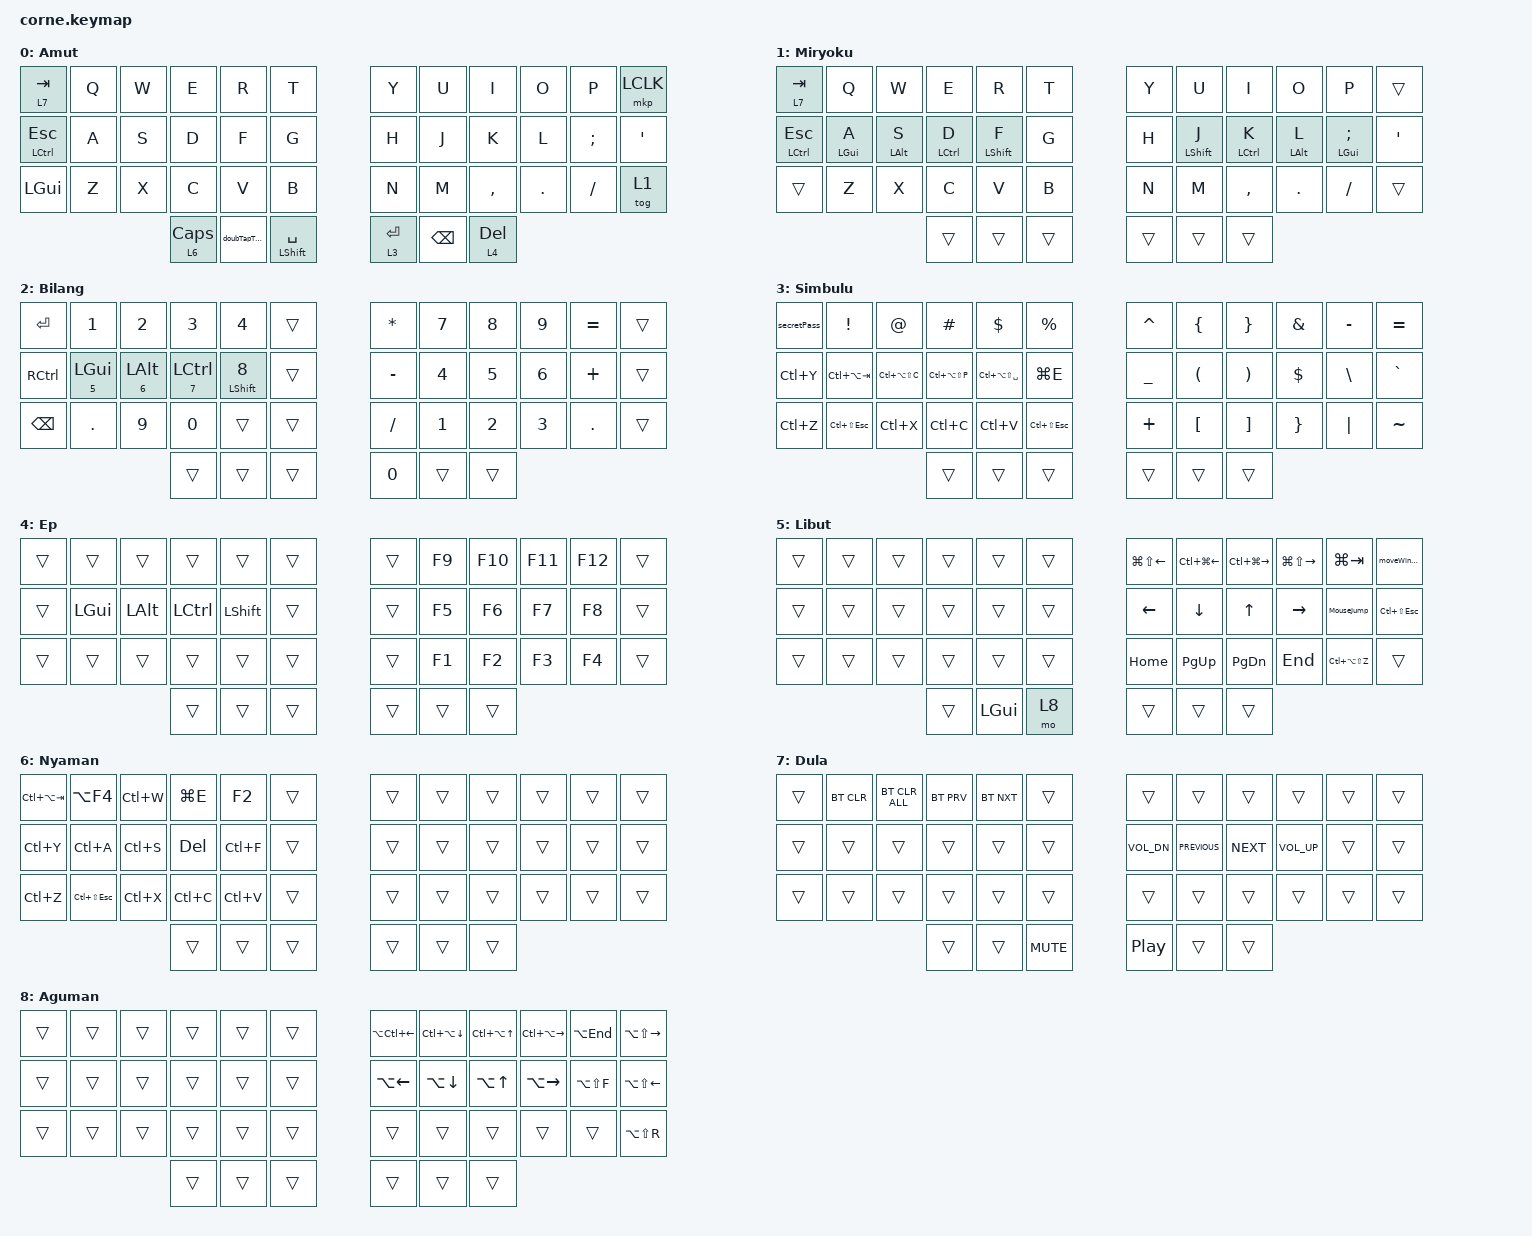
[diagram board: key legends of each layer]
/*
 * Copyright (c) 2020 The ZMK Contributors
 *
 * SPDX-License-Identifier: MIT
 */

#include <behaviors.dtsi>
#include <dt-bindings/zmk/bt.h>
#include <dt-bindings/zmk/keys.h>
#include <dt-bindings/zmk/mouse.h>

/ {
    combos {
        compatible = "zmk,combos";

        tab_forward {
            bindings = <&kp LC(TAB)>;
            key-positions = <20 21>;
            layers = <5>;
        };

        tab_backward {
            bindings = <&kp LC(LS(TAB))>;
            key-positions = <19 20>;
            layers = <5>;
        };

        LeftParenthesis {
            bindings = <&kp LEFT_PARENTHESIS>;
            key-positions = <39 19>;
            layers = <0 1>;
        };

        RightParenthesis {
            bindings = <&kp RIGHT_PARENTHESIS>;
            key-positions = <39 20>;
            layers = <0 1>;
        };

        komoRight {
            bindings = <&kp LC(LA(RIGHT))>;
            key-positions = <20 21>;
            layers = <8>;
        };

        komoMoveLeft {
            bindings = <&kp LC(LA(LEFT))>;
            key-positions = <19 20>;
            layers = <8>;
        };

        accentspace {
            bindings = <&kp SPACE>;
            key-positions = <39 22>;
            layers = <0>;
        };

        navigation {
            bindings = <&mo 5>;
            key-positions = <15 16>;
            layers = <0>;
        };
    };

    macros {
        MouseJump: MouseJump {
            compatible = "zmk,behavior-macro";
            #binding-cells = <0>;
            bindings =
                <&macro_press>,
                <&kp LG(LC(LA(LS(J))))>,
                <&macro_press>,
                <&kp RIGHT>;

            label = "MOUSEJUMP";
        };

        moveWinToVirD: moveWinToVirD {
            compatible = "zmk,behavior-macro";
            #binding-cells = <0>;
            bindings =
                <&macro_press>,
                <&kp LS(F10)>,
                <&macro_press>,
                <&kp DOWN>,
                <&macro_press>,
                <&kp DOWN>,
                <&macro_press>,
                <&kp RIGHT>;

            label = "MOVEWINTOVIRD";
            wait-ms = <150>;
        };

        secretPass: secretPass {
            compatible = "zmk,behavior-macro";
            #binding-cells = <0>;
            bindings = <&kp N1 &kp Y &kp G &kp LS(L) &kp E &kp E &kp P &kp AT &kp EXCL &kp EXCL>;
            label = "SECRETPASS";
        };
    };

    behaviors {
        doubTapToAlt: doubTapToAlt {
            compatible = "zmk,behavior-tap-dance";
            label = "DOUBTAPTOALT";
            #binding-cells = <0>;
            bindings = <&mo 2>, <&kp LEFT_ALT>;

            tapping-term-ms = <200>;
        };
    };

    keymap {
        compatible = "zmk,keymap";

        base {
            // -----------------------------------------------------------------------------------------
            // |  TAB |  Q  |  W  |  E  |  R  |  T  |   |  Y  |  U   |  I  |  O  |  P  | BKSP |
            // | CTRL |  A  |  S  |  D  |  F  |  G  |   |  H  |  J   |  K  |  L  |  ;  |  '   |
            // | SHFT |  Z  |  X  |  C  |  V  |  B  |   |  N  |  M   |  ,  |  .  |  /  | ESC  |
            //                    | GUI | LWR | SPC |   | ENT | RSE  | ALT |

            display-name = "Amut";
            bindings = <
&lt 7 TAB         &kp Q  &kp W  &kp E           &kp R          &kp T                   &kp Y         &kp U          &kp I      &kp O    &kp P     &mkp LCLK
&mt LCTRL ESCAPE  &kp A  &kp S  &kp D           &kp F          &kp G                   &kp H         &kp J          &kp K      &kp L    &kp SEMI  &kp SQT
&kp LEFT_GUI      &kp Z  &kp X  &kp C           &kp V          &kp B                   &kp N         &kp M          &kp COMMA  &kp DOT  &kp FSLH  &tog 1
                                &lt 6 CAPSLOCK  &doubTapToAlt  &mt LEFT_SHIFT SPACE    &lt 3 RETURN  &kp BACKSPACE  &lt 4 DEL
            >;
        };

        miryoku {
            display-name = "Miryoku";
            bindings = <
&lt 7 TAB         &kp Q           &kp W           &kp E        &kp R             &kp T     &kp Y   &kp U             &kp I        &kp O           &kp P                   &trans
&mt LCTRL ESCAPE  &mt LEFT_GUI A  &mt LEFT_ALT S  &mt LCTRL D  &mt LEFT_SHIFT F  &kp G     &kp H   &mt LEFT_SHIFT J  &mt LCTRL K  &mt LEFT_ALT L  &mt LEFT_GUI SEMICOLON  &kp SQT
&trans            &kp Z           &kp X           &kp C        &kp V             &kp B     &kp N   &kp M             &kp COMMA    &kp DOT         &kp FSLH                &trans
                                                  &trans       &trans            &trans    &trans  &trans            &trans
            >;
        };

        numbers {
            // -----------------------------------------------------------------------------------------
            // |  TAB |  1  |  2  |  3  |  4  |  5  |   |  6  |  7  |  8  |  9  |  0  | BKSP |
            // | BTCLR| BT1 | BT2 | BT3 | BT4 | BT5 |   | LFT | DWN |  UP | RGT |     |      |
            // | SHFT |     |     |     |     |     |   |     |     |     |     |     |      |
            //                    | GUI |     | SPC |   | ENT |     | ALT |

            display-name = "Bilang";
            bindings = <
&kp RET        &kp N1           &kp N2                 &kp N3        &kp N4             &trans    &kp ASTERISK  &kp N7        &kp N8        &kp N9        &kp EQUAL   &trans
&kp RCTRL      &mt N5 LEFT_GUI  &mt NUMBER_6 LEFT_ALT  &mt N7 LCTRL  &mt LEFT_SHIFT N8  &trans    &kp MINUS     &kp NUMBER_4  &kp N5        &kp NUMBER_6  &kp PLUS    &trans
&kp BACKSPACE  &kp DOT          &kp N9                 &kp N0        &trans             &trans    &kp SLASH     &kp NUMBER_1  &kp NUMBER_2  &kp NUMBER_3  &kp PERIOD  &trans
                                                       &trans        &trans             &trans    &kp NUMBER_0  &trans        &trans
            >;
        };

        symbols {
            // -----------------------------------------------------------------------------------------
            // |  TAB |  !  |  @  |  #  |  $  |  %  |   |  ^  |  &  |  *  |  (  |  )  | BKSP |
            // | CTRL |     |     |     |     |     |   |  -  |  =  |  [  |  ]  |  \  |  `   |
            // | SHFT |     |     |     |     |     |   |  _  |  +  |  {  |  }  | "|" |  ~   |
            //                    | GUI |     | SPC |   | ENT |     | ALT |

            display-name = "Simbulu";
            bindings = <
&secretPass  &kp EXCL            &kp AT             &kp HASH           &kp DLLR               &kp PRCNT             &kp CARET       &kp LEFT_BRACE        &kp RIGHT_BRACE        &kp AMPERSAND  &kp MINUS  &kp EQUAL
&kp LC(Y)    &kp LC(LA(TAB))     &kp LC(LA(LS(C)))  &kp LC(LA(LS(P)))  &kp LC(LA(LS(SPACE)))  &kp LG(E)             &kp UNDERSCORE  &kp LEFT_PARENTHESIS  &kp RIGHT_PARENTHESIS  &kp DOLLAR     &kp BSLH   &kp GRAVE
&kp LC(Z)    &kp LC(LS(ESCAPE))  &kp LC(X)          &kp LC(C)          &kp LC(V)              &kp LC(LS(ESCAPE))    &kp PLUS        &kp LEFT_BRACKET      &kp RIGHT_BRACKET      &kp RBRC       &kp PIPE   &kp TILDE
                                                    &trans             &trans                 &trans                &trans          &trans                &trans
            >;
        };

        fkeys {
            display-name = "Ep";
            bindings = <
&trans  &trans        &trans        &trans     &trans     &trans    &trans  &kp F9  &kp F10  &kp F11  &kp F12  &trans
&trans  &kp LEFT_GUI  &kp LEFT_ALT  &kp LCTRL  &kp LSHFT  &trans    &trans  &kp F5  &kp F6   &kp F7   &kp F8   &trans
&trans  &trans        &trans        &trans     &trans     &trans    &trans  &kp F1  &kp F2   &kp F3   &kp F4   &trans
                                    &trans     &trans     &trans    &trans  &trans  &trans
            >;
        };

        navigation {
            bindings = <
&trans  &trans  &trans  &trans  &trans        &trans    &kp LG(LS(LEFT))  &kp LC(LG(LEFT_ARROW))  &kp LC(LG(RIGHT_ARROW))  &kp LG(LS(RIGHT))  &kp LG(TAB)        &moveWinToVirD
&trans  &trans  &trans  &trans  &trans        &trans    &kp LEFT          &kp DOWN                &kp UP                   &kp RIGHT          &MouseJump         &kp LC(LS(ESCAPE))
&trans  &trans  &trans  &trans  &trans        &trans    &kp HOME          &kp PAGE_UP             &kp PAGE_DOWN            &kp END            &kp LC(LA(LS(Z)))  &trans
                        &trans  &kp LEFT_GUI  &mo 8     &trans            &trans                  &trans
            >;

            label = "Libut";
        };

        shortcuts {
            bindings = <
&kp LC(LA(TAB))  &kp LA(F4)          &kp LC(W)  &kp LG(E)   &kp F2     &trans    &trans  &trans  &trans  &trans  &trans  &trans
&kp LC(Y)        &kp LC(A)           &kp LC(S)  &kp DELETE  &kp LC(F)  &trans    &trans  &trans  &trans  &trans  &trans  &trans
&kp LC(Z)        &kp LC(LS(ESCAPE))  &kp LC(X)  &kp LC(C)   &kp LC(V)  &trans    &trans  &trans  &trans  &trans  &trans  &trans
                                                &trans      &trans     &trans    &trans  &trans  &trans
            >;

            label = "Nyaman";
        };

        media {
            display-name = "Dula";
            bindings = <
&trans  &bt BT_CLR  &bt BT_CLR_ALL  &bt BT_PRV  &bt BT_NXT  &trans        &trans            &trans          &trans      &trans           &trans  &trans
&trans  &trans      &trans          &trans      &trans      &trans        &kp C_VOL_DN      &kp C_PREVIOUS  &kp C_NEXT  &kp C_VOLUME_UP  &trans  &trans
&trans  &trans      &trans          &trans      &trans      &trans        &trans            &trans          &trans      &trans           &trans  &trans
                                    &trans      &trans      &kp C_MUTE    &kp C_PLAY_PAUSE  &trans          &trans
            >;
        };

        komorebi {
            bindings = <
&trans  &trans  &trans  &trans  &trans  &trans    &kp LA(LC(LEFT_ARROW))  &kp LC(LA(DOWN))  &kp LC(LA(UP_ARROW))  &kp LC(LA(RIGHT))  &kp LA(END)    &kp LA(LS(RIGHT))
&trans  &trans  &trans  &trans  &trans  &trans    &kp LA(LEFT_ARROW)      &kp LA(DOWN)      &kp LA(UP_ARROW)      &kp LA(RIGHT)      &kp LA(LS(F))  &kp LA(LS(LEFT))
&trans  &trans  &trans  &trans  &trans  &trans    &trans                  &trans            &trans                &trans             &trans         &kp LA(LS(R))
                        &trans  &trans  &trans    &trans                  &trans            &trans
            >;

            label = "Aguman";
        };
    };
};
